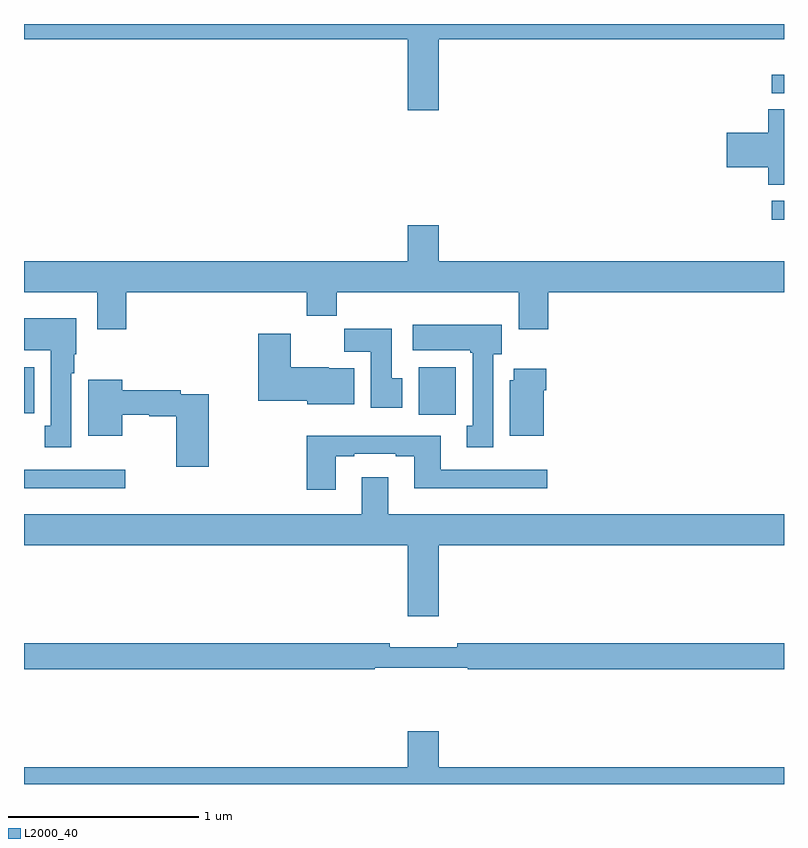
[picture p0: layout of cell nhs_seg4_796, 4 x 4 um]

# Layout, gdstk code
import gdstk
lib = gdstk.Library(unit=1e-6, precision=1e-09)
def R(c, l, rs):  # rectangles x0, y0, x1, y1
    for r in rs: c.add(gdstk.rectangle(r[:2], r[2:], *l))
def P(c, l, *ps):  # polygons
    for p in ps: c.add(gdstk.Polygon(p, *l))
L2000_40 = (2000, 40)

nhs_seg4_796 = lib.new_cell('nhs_seg4_796')
R(nhs_seg4_796, L2000_40, [(151,794.456,151.534,794.553), (153.077,794.844,153.273,795.094), (151,794.852,151.054,795.094), (154.935,795.871,155,795.969), (154.935,796.536,155,796.632)])
P(nhs_seg4_796, L2000_40, [(153.184,796.82),(155,796.82),(155,796.9),(151,796.9),(151,796.82),(153.02,796.82),(153.02,796.446),(153.184,796.446)],
  [(155,796.451),(154.916,796.451),(154.916,796.328),(154.698,796.328),(154.698,796.145),(154.916,796.145),(154.916,796.054),(155,796.054)],
  [(151.538,795.488),(152.489,795.488),(152.489,795.364),(152.645,795.364),(152.645,795.488),(153.605,795.488),(153.605,795.294),(153.758,795.294),(153.758,795.488),(155,795.488),(155,795.652),(153.184,795.652),(153.184,795.841),(153.02,795.841),(153.02,795.652),(151,795.652),(151,795.488),(151.385,795.488),(151.385,795.294),(151.538,795.294)],
  [(151.249,795.062),(151.264,795.062),(151.264,795.162),(151.276,795.162),(151.276,795.352),(151,795.352),(151,795.182),(151.142,795.182),(151.142,794.786),(151.109,794.786),(151.109,794.673),(151.249,794.673)],
  [(153.469,795.162),(153.514,795.162),(153.514,795.316),(153.045,795.316),(153.045,795.182),(153.349,795.182),(153.349,795.169),(153.362,795.169),(153.362,794.785),(153.329,794.785),(153.329,794.673),(153.469,794.673)],
  [(152.992,795.036),(152.935,795.036),(152.935,795.295),(152.686,795.295),(152.686,795.176),(152.825,795.176),(152.825,794.88),(152.992,794.88)],
  [(152.737,795.088),(152.604,795.088),(152.604,795.094),(152.404,795.094),(152.404,795.271),(152.234,795.271),(152.234,794.918),(152.49,794.918),(152.49,794.9),(152.737,794.9)],
  [(153.736,794.972),(153.749,794.972),(153.749,795.085),(153.578,795.085),(153.578,795.024),(153.557,795.024),(153.557,794.732),(153.736,794.732)],
  [(151.973,794.952),(151.826,794.952),(151.826,794.972),(151.516,794.972),(151.516,795.028),(151.337,795.028),(151.337,794.732),(151.516,794.732),(151.516,794.844),(151.659,794.844),(151.659,794.836),(151.802,794.836),(151.802,794.571),(151.973,794.571)],
  [(152.641,794.625),(152.737,794.625),(152.737,794.637),(152.957,794.637),(152.957,794.625),(153.053,794.625),(153.053,794.456),(153.754,794.456),(153.754,794.553),(153.193,794.553),(153.193,794.734),(152.489,794.734),(152.489,794.448),(152.641,794.448)],
  [(153.184,794.156),(155,794.156),(155,794.32),(152.917,794.32),(152.917,794.515),(152.777,794.515),(152.777,794.32),(151,794.32),(151,794.156),(153.02,794.156),(153.02,793.782),(153.184,793.782)],
  [(152.846,793.512),(153.335,793.512),(153.335,793.504),(155,793.504),(155,793.64),(153.28,793.64),(153.28,793.621),(152.924,793.621),(152.924,793.64),(151,793.64),(151,793.504),(152.846,793.504)],
  [(155,792.988),(153.184,792.988),(153.184,793.177),(153.02,793.177),(153.02,792.988),(151,792.988),(151,792.9),(155,792.9)])

lib.write_gds('nhs_seg4_796.gds')
